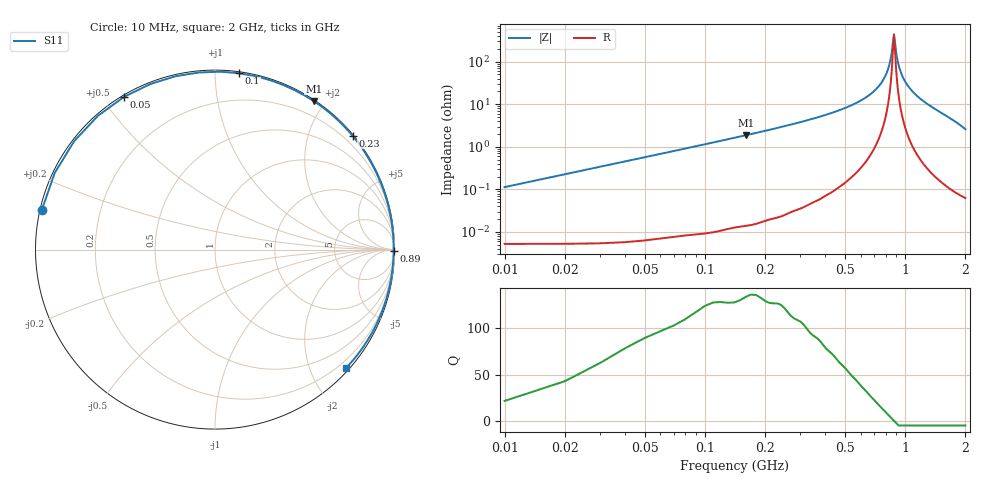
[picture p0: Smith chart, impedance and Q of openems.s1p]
! H_s8_cap_10: PDN loop: BGA pin field to a 0402 capacitor 10 mm away
! stackup: 8-layer 1.6 mm FR-4 (generic)
! ports: 1 IC pins
! openEMS 0.37.0, staircase, fine mesh (dfine 0.035 mm), 2523400 cells
# Hz S RI R 1
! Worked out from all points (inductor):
!   200 points, 10 MHz to 2 GHz, reference 1 ohm
!   read as one part to ground: L = 1.8 nH near 20 MHz
!   highest Q = 134 at 160 MHz (marker M1), where L = 1.86 nH
!   self-resonance near 870 MHz
!   S11 on the Smith chart (normalised r, x): 10 MHz: 0.01, +0.11; 50 MHz: 0.01, +0.57; 100 MHz: 0.01, +1.15; 230 MHz: 0.02, +2.78; 890 MHz: open; 2 GHz: 0.06, -2.59
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1e7  -0.9646 0.2214
2e7  -0.8932 0.427
3e7  -0.7846 0.6043
4e7  -0.6514 0.7461
5e7  -0.5064 0.8512
6e7  -0.3602 0.9226
7e7  -0.2201 0.9658
8e7  -0.09 0.9869
1e8  0.1341 0.983
1.1e8  0.2279 0.9659
1.3e8  0.3827 0.9161
1.6e8  0.5505 0.8274
1.9e8  0.6653 0.7391
2.3e8  0.7664 0.6346
2.6e8  0.8179 0.5669
3.1e8  0.8761 0.4726
3.7e8  0.9192 0.3826
4.4e8  0.9496 0.2997
5.1e8  0.9681 0.233
6.2e8  0.9846 0.1487
7.6e8  0.9936 0.0629
8.9e8  0.9954 -0.00503
1.01e9  0.9931 -0.0627
1.26e9  0.978 -0.1792
1.51e9  0.9446 -0.3054
1.76e9  0.8763 -0.4605
1.89e9  0.8125 -0.5609
2e9  0.7297 -0.6601
